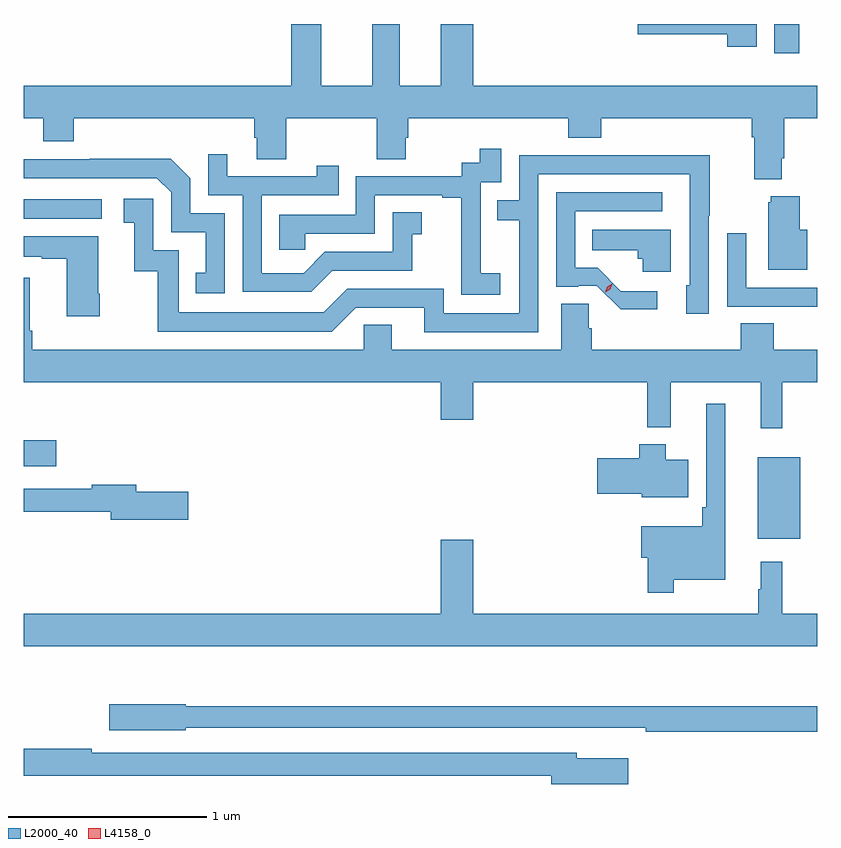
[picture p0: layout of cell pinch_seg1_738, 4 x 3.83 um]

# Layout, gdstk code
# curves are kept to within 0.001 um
import gdstk
lib = gdstk.Library(unit=1e-6, precision=1e-09)
def R(c, l, rs):  # rectangles x0, y0, x1, y1
    for r in rs: c.add(gdstk.rectangle(r[:2], r[2:], *l))
def P(c, l, *ps):  # polygons
    for p in ps: c.add(gdstk.Polygon(p, *l))
L2000_40 = (2000, 40)
L4158_0 = (4158, 0)

pinch_seg1_738 = lib.new_cell('pinch_seg1_738')
R(pinch_seg1_738, L2000_40, [(837.935,520.307,838.15,520.717), (834.235,520.673,834.397,520.803), (834.235,521.922,834.628,522.018), (838.019,522.756,838.144,522.903)])
P(pinch_seg1_738, L2000_40, [(838.057,522.226),(838.07,522.226),(838.07,522.428),(838.235,522.428),(838.235,522.592),(836.5,522.592),(836.5,522.903),(836.336,522.903),(836.336,522.592),(836.131,522.592),(836.131,522.903),(835.991,522.903),(835.991,522.592),(835.735,522.592),(835.735,522.903),(835.583,522.903),(835.583,522.592),(834.235,522.592),(834.235,522.428),(834.332,522.428),(834.332,522.311),(834.485,522.311),(834.485,522.428),(835.397,522.428),(835.397,522.33),(835.409,522.33),(835.409,522.22),(835.557,522.22),(835.557,522.428),(836.014,522.428),(836.014,522.22),(836.161,522.22),(836.161,522.33),(836.174,522.33),(836.174,522.428),(836.981,522.428),(836.981,522.329),(837.146,522.329),(837.146,522.428),(837.905,522.428),(837.905,522.332),(837.917,522.332),(837.917,522.119),(838.057,522.119)],
  [(837.931,522.903),(837.33,522.903),(837.33,522.851),(837.782,522.851),(837.782,522.789),(837.931,522.789)],
  [(836.638,521.647),(836.54,521.647),(836.54,521.876),(836.538,521.876),(836.538,522.105),(836.643,522.105),(836.643,522.274),(836.535,522.274),(836.535,522.204),(836.442,522.204),(836.442,522.135),(835.908,522.135),(835.908,521.94),(835.523,521.94),(835.523,521.764),(835.653,521.764),(835.653,521.844),(836.004,521.844),(836.004,522.039),(836.345,522.039),(836.345,522.027),(836.441,522.027),(836.441,521.743),(836.44,521.743),(836.44,521.537),(836.638,521.537)],
  [(835.789,521.658),(836.193,521.658),(836.193,521.843),(836.242,521.843),(836.242,521.953),(836.094,521.953),(836.094,521.754),(835.753,521.754),(835.646,521.647),(835.434,521.647),(835.434,522.039),(835.823,522.039),(835.823,522.187),(835.712,522.187),(835.712,522.135),(835.261,522.135),(835.261,522.246),(835.164,522.246),(835.164,522.039),(835.338,522.039),(835.338,521.553),(835.684,521.553)],
  [(836.829,522.144),(837.593,522.144),(837.594,521.586),(837.575,521.586),(837.575,521.442),(837.69,521.442),(837.69,521.935),(837.693,521.935),(837.693,522.242),(837.229,522.242),(837.229,522.24),(836.733,522.24),(836.733,522.015),(836.623,522.015),(836.623,521.914),(836.733,521.914),(836.733,521.445),(836.352,521.445),(836.352,521.568),(835.866,521.568),(835.746,521.448),(835.017,521.448),(835.017,521.763),(834.888,521.763),(834.888,522.022),(834.738,522.022),(834.738,521.901),(834.791,521.901),(834.791,521.655),(834.909,521.655),(834.909,521.352),(835.788,521.352),(835.908,521.472),(836.255,521.472),(836.255,521.349),(836.829,521.349)],
  [(835.248,521.949),(835.074,521.949),(835.074,522.126),(834.976,522.224),(834.568,522.224),(834.568,522.222),(834.235,522.222),(834.235,522.126),(834.906,522.126),(834.978,522.054),(834.978,521.853),(835.151,521.853),(835.151,521.649),(835.102,521.649),(835.102,521.544),(835.248,521.544)],
  [(837.43,521.556),(837.245,521.556),(837.128,521.673),(837.015,521.673),(837.015,521.958),(837.454,521.958),(837.454,522.054),(836.919,522.054),(836.919,521.577),(837.031,521.577),(837.031,521.583),(837.125,521.583),(837.244,521.465),(837.43,521.465)],
  [(838.186,521.866),(838.147,521.866),(838.147,522.034),(838.001,522.034),(838.001,522.003),(837.989,522.003),(837.989,521.663),(838.186,521.663)],
  [(837.496,521.866),(837.1,521.866),(837.1,521.762),(837.331,521.762),(837.331,521.718),(837.356,521.718),(837.356,521.654),(837.496,521.654)],
  [(838.235,521.574),(837.879,521.574),(837.879,521.847),(837.783,521.847),(837.783,521.478),(838.099,521.478),(838.099,521.477),(838.235,521.477)],
  [(834.618,521.542),(834.61,521.542),(834.61,521.833),(834.235,521.833),(834.235,521.729),(834.326,521.729),(834.326,521.719),(834.452,521.719),(834.452,521.43),(834.618,521.43)],
  [(838.06,521.096),(838.235,521.096),(838.235,521.26),(838.016,521.26),(838.016,521.393),(837.851,521.393),(837.851,521.26),(837.098,521.26),(837.098,521.369),(837.084,521.369),(837.084,521.492),(836.945,521.492),(836.945,521.26),(836.089,521.26),(836.089,521.387),(835.95,521.387),(835.95,521.26),(834.278,521.26),(834.278,521.356),(834.265,521.356),(834.265,521.623),(834.235,521.623),(834.235,521.096),(836.336,521.096),(836.336,520.908),(836.5,520.908),(836.5,521.096),(837.379,521.096),(837.379,520.868),(837.497,520.868),(837.497,521.096),(837.95,521.096),(837.95,520.863),(838.06,520.863)],
  [(837.511,520.1),(837.772,520.1),(837.772,520.987),(837.675,520.987),(837.675,520.465),(837.655,520.465),(837.655,520.369),(837.348,520.369),(837.348,520.211),(837.382,520.211),(837.382,520.035),(837.511,520.035)],
  [(837.586,520.705),(837.472,520.705),(837.472,520.783),(837.338,520.783),(837.338,520.713),(837.126,520.713),(837.126,520.535),(837.35,520.535),(837.35,520.517),(837.586,520.517)],
  [(835.063,520.544),(834.802,520.544),(834.802,520.58),(834.578,520.58),(834.578,520.56),(834.235,520.56),(834.235,520.444),(834.674,520.444),(834.674,520.402),(835.063,520.402)],
  [(838.235,519.928),(838.06,519.928),(838.06,520.192),(837.95,520.192),(837.95,520.052),(837.939,520.052),(837.939,519.928),(836.5,519.928),(836.5,520.303),(836.336,520.303),(836.336,519.928),(834.235,519.928),(834.235,519.764),(838.235,519.764)],
  [(838.235,519.463),(835.05,519.463),(835.05,519.471),(834.666,519.471),(834.666,519.341),(835.05,519.341),(835.05,519.354),(837.118,519.354),(837.118,519.353),(837.37,519.353),(837.37,519.334),(838.235,519.334)],
  [(837.283,519.199),(837.022,519.199),(837.022,519.228),(834.578,519.228),(834.578,519.248),(834.235,519.248),(834.235,519.112),(836.894,519.112),(836.894,519.07),(837.283,519.07)])
P(pinch_seg1_738, L4158_0, [(837.166,521.549),(837.166,521.55),(837.176,521.577),(837.202,521.592),(837.202,521.592),(837.202,521.592),(837.192,521.564),(837.166,521.549)])

lib.write_gds('pinch_seg1_738.gds')
